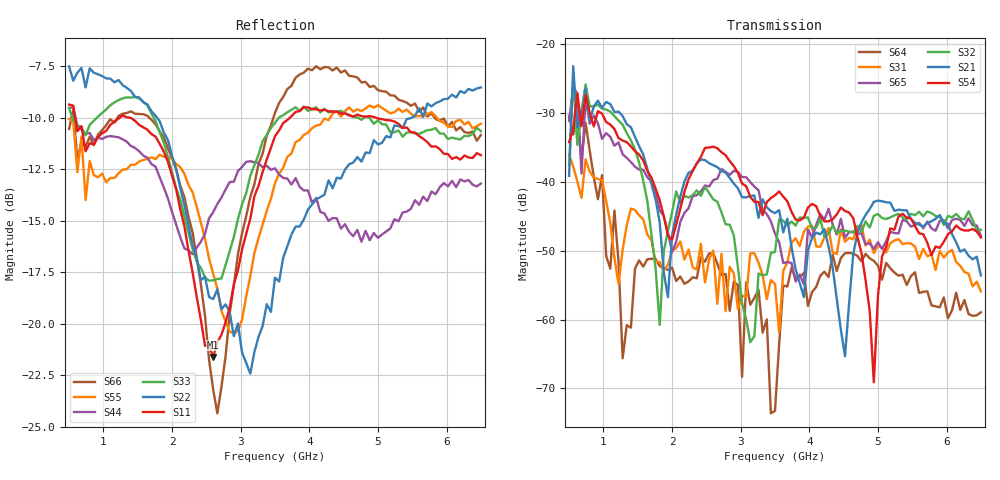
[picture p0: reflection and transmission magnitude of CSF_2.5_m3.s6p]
!Keysight Technologies,M9804A,MY58100912,A.14.10.03
!Date: Thursday, April 27, 2023 10:28:33
!Correction: S11(C  6-Port  )
!S12(C  6-Port  )
!S13(C  6-Port  )
!S14(C  6-Port  )
!S15(C  6-Port  )
!S16(C  6-Port  )
!S21(C  6-Port  )
!S22(C  6-Port  )
!S23(C  6-Port  )
!S24(C  6-Port  )
!S25(C  6-Port  )
!S26(C  6-Port  )
!S31(C  6-Port  )
!S32(C  6-Port  )
!S33(C  6-Port  )
!S34(C  6-Port  )
!S35(C  6-Port  )
!S36(C  6-Port  )
!S41(C  6-Port  )
!S42(C  6-Port  )
!S43(C  6-Port  )
!S44(C  6-Port  )
!S45(C  6-Port  )
!S46(C  6-Port  )
!S51(C  6-Port  )
!S52(C  6-Port  )
!S53(C  6-Port  )
!S54(C  6-Port  )
!S55(C  6-Port  )
!S56(C  6-Port  )
!S61(C  6-Port  )
!S62(C  6-Port  )
!S63(C  6-Port  )
!S64(C  6-Port  )
!S65(C  6-Port  )
!S66(C  6-Port  )
!S6P File: Measurement: :
# Hz S  RI  R 50
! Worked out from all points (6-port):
!   101 points, 500 MHz to 6.5 GHz, reference 50 ohm
!   strongest paths, dB at 500 MHz, 2 GHz, 3.5 GHz, 5 GHz, 6.5 GHz:
!     S54: -34.2, -48.4, -42.0, -56.6, -48.1
!     S21: -39.1, -47.8, -44.5, -42.7, -53.6
!     S32: -37.5, -44.4, -50.2, -44.7, -47.0
!     S65: -31.1, -50.2, -47.5, -48.8, -47.8
!     S31: -36.0, -50.0, -54.8, -49.2, -55.9
!     S64: -30.4, -52.5, -73.3, -52.2, -58.9
!   lowest |S11| = -21.6 dB at 2.6 GHz (marker M1), VSWR 1.18, Z = 42.6 + j2.03 ohm
!   |S11| at or under -10 dB: 588.5 MHz to 1.236 GHz (647.7 MHz wide, 71 % of centre); 1.396 GHz to 3.715 GHz (2.319 GHz wide, 90.8 % of centre); 4.974 GHz to end of sweep
